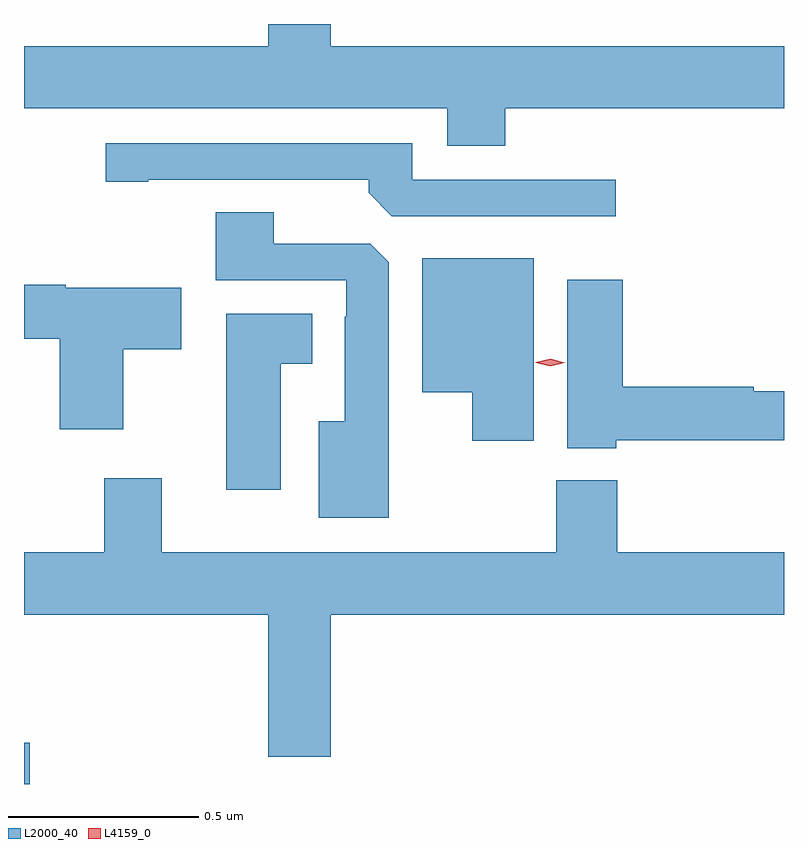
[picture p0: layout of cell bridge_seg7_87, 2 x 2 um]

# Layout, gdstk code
import gdstk
lib = gdstk.Library(unit=1e-6, precision=1e-09)
def R(c, l, rs):  # rectangles x0, y0, x1, y1
    for r in rs: c.add(gdstk.rectangle(r[:2], r[2:], *l))
def P(c, l, *ps):  # polygons
    for p in ps: c.add(gdstk.Polygon(p, *l))
L2000_40 = (2000, 40)
L4159_0 = (4159, 0)

bridge_seg7_87 = lib.new_cell('bridge_seg7_87')
R(bridge_seg7_87, L2000_40, [(1087.441,1014.822,1087.456,1014.931)])
P(bridge_seg7_87, L2000_40, [(1088.708,1016.6),(1089.441,1016.6),(1089.441,1016.764),(1088.248,1016.764),(1088.248,1016.822),(1088.084,1016.822),(1088.084,1016.764),(1087.441,1016.764),(1087.441,1016.6),(1088.555,1016.6),(1088.555,1016.501),(1088.708,1016.501)],
  [(1088.998,1016.412),(1088.463,1016.412),(1088.463,1016.508),(1087.656,1016.508),(1087.656,1016.407),(1087.768,1016.407),(1087.768,1016.412),(1088.348,1016.412),(1088.348,1016.378),(1088.409,1016.316),(1088.998,1016.316)],
  [(1088.401,1016.195),(1088.352,1016.244),(1088.098,1016.244),(1088.098,1016.327),(1087.946,1016.327),(1087.946,1016.148),(1088.289,1016.148),(1088.289,1016.051),(1088.285,1016.051),(1088.285,1015.777),(1088.216,1015.777),(1088.216,1015.523),(1088.401,1015.523)],
  [(1088.782,1016.206),(1088.489,1016.206),(1088.489,1015.853),(1088.621,1015.853),(1088.621,1015.725),(1088.782,1015.725)],
  [(1089,1015.726),(1089.441,1015.726),(1089.441,1015.856),(1089.362,1015.856),(1089.362,1015.868),(1089.017,1015.868),(1089.017,1016.149),(1088.87,1016.149),(1088.87,1015.706),(1089,1015.706)],
  [(1087.702,1015.966),(1087.855,1015.966),(1087.855,1016.128),(1087.551,1016.128),(1087.551,1016.136),(1087.441,1016.136),(1087.441,1015.994),(1087.535,1015.994),(1087.535,1015.755),(1087.702,1015.755)],
  [(1088.116,1015.928),(1088.2,1015.928),(1088.2,1016.059),(1087.973,1016.059),(1087.973,1015.596),(1088.116,1015.596)],
  [(1088.248,1015.268),(1089.441,1015.268),(1089.441,1015.432),(1089.002,1015.432),(1089.002,1015.621),(1088.842,1015.621),(1088.842,1015.432),(1087.804,1015.432),(1087.804,1015.627),(1087.652,1015.627),(1087.652,1015.432),(1087.441,1015.432),(1087.441,1015.268),(1088.084,1015.268),(1088.084,1014.894),(1088.248,1014.894)])
P(bridge_seg7_87, L4159_0, [(1088.826,1015.921),(1088.788,1015.931),(1088.788,1015.932),(1088.788,1015.932),(1088.827,1015.941),(1088.864,1015.931),(1088.865,1015.93),(1088.864,1015.93)])

lib.write_gds('bridge_seg7_87.gds')
